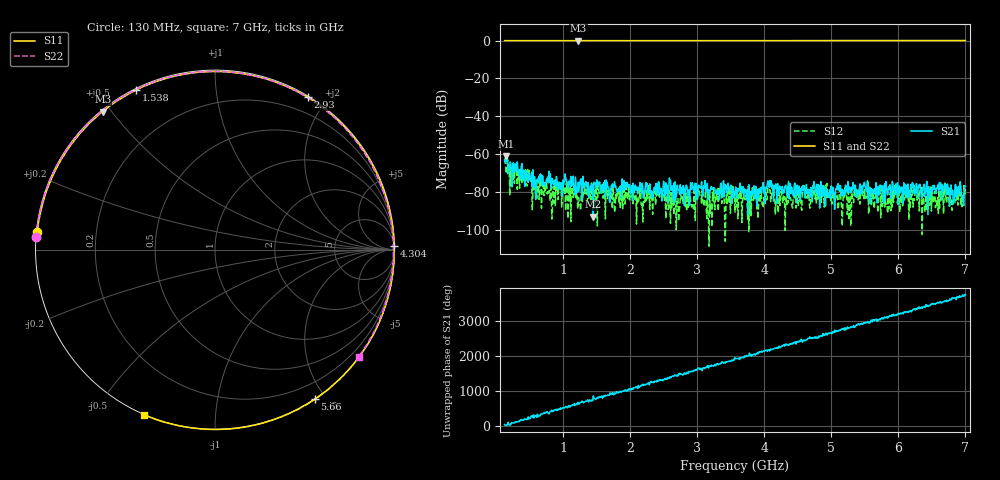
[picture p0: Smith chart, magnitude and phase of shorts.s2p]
# Hz S RI R 50.000000
! Metas.Vna.Tools, 2.8.8664.20301
! Metas.Vna.Data, 2.8.8664.20285
! Created: UTC 2024.02.11 10:08:07
! FREQ  re:S1,1  im:S1,1  re:S2,1  im:S2,1  re:S1,2  im:S1,2  re:S2,2  im:S2,2
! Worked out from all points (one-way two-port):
!   801 points, 130 MHz to 7 GHz, reference 50 ohm
!   highest |S21| = -61.31 dB at 147.2 MHz (marker M1); lowest = -93.2 dB at 1.452 GHz (marker M2)
!   lowest |S11| = -0.1 dB at 1.229 GHz (marker M3), VSWR 205.87, Z = 0.298 + j23.8 ohm
!   |S11| at or under -10 dB: nowhere
!   |S22| runs from -0.1 to 0.0 dB; largest |S21 - S12| = 0.00091
!   S11 on the Smith chart (normalised r, x): 130 MHz: 0.00, +0.05; 1.538 GHz: 0.01, +0.62; 2.93 GHz: 0.01, +1.78; 4.304 GHz: 9, +98; 5.66 GHz: -0.01, -1.87; 7 GHz: -0.00, -0.66
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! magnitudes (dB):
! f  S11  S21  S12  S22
! 130 MHz  0.0  -63.4  -62.4  0.0
! 147.2 MHz  0.0  -61.3  -67.6  0.0
! 241.6 MHz  -0.1  -77.4  -71.8  0.0
! 293.2 MHz  0.0  -66.1  -68.8  0.0
! 404.8 MHz  -0.1  -73.3  -74.1  0.0
! 602.3 MHz  -0.1  -76.1  -73.1  0.0
! 782.6 MHz  -0.1  -75.4  -81.3  0.0
! 954.4 MHz  -0.1  -75.5  -76.3  0.0
! 1.229 GHz  -0.1  -74.9  -83.0  0.0
! 1.281 GHz  -0.1  -83.9  -77.3  0.0
! 1.452 GHz  -0.1  -93.2  -88.1  0.0
! 1.538 GHz  -0.1  -76.1  -80.4  0.0
! 2.423 GHz  -0.1  -74.7  -81.7  -0.1
! 2.93 GHz  -0.1  -75.3  -86.9  -0.1
! 3.565 GHz  0.0  -81.2  -90.7  -0.1
! 3.926 GHz  0.0  -78.4  -82.4  -0.1
! 4.072 GHz  0.0  -77.0  -75.8  -0.1
! 4.304 GHz  0.0  -77.3  -82.6  -0.1
! 4.716 GHz  0.0  -84.8  -85.4  -0.1
! 5.66 GHz  0.0  -81.5  -82.9  -0.1
! 5.858 GHz  0.0  -77.3  -89.0  0.0
! 7 GHz  0.0  -77.1  -76.8  0.0
